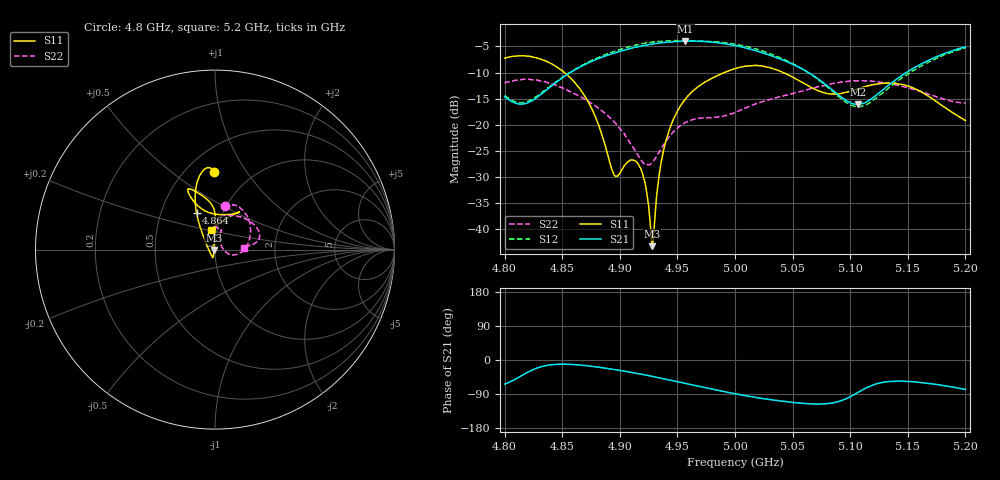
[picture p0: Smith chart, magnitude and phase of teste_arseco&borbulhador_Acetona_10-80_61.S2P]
! Network Analyzer HP8722D
! Hewlett-Packard
! Data name: Linha & Wilkinson
! Saver's name: Rodrigo Anjos
! Comments: Teste da utilização de aquisição
! continua pelo VNA HP8722D
! Time and date: 25/4/2025 15:46
!  Frequency  S11  S21  S12  S22
# HZ  S  MA R 50
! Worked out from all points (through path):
!   401 points, 4.8 GHz to 5.2 GHz, reference 50 ohm
!   highest |S21| = -3.96 dB at 4.957 GHz (marker M1); lowest = -16.1 dB at 5.107 GHz (marker M2)
!   lowest |S11| = -43.3 dB at 4.928 GHz (marker M3), VSWR 1.01, Z = 49.3 - j0.14 ohm
!   |S11| at or under -10 dB: 4.852 GHz to 4.991 GHz (138.8 MHz wide, 2.82 % of centre); 5.042 GHz to end of sweep
!   |S22| runs from -27.7 to -11.3 dB; largest |S21 - S12| = 1.2
!   S11 on the Smith chart (normalised r, x): 4.8 GHz: 0.68, +0.73; 4.864 GHz: 0.75, +0.33; 5.2 GHz: 0.94, +0.21
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4.8e9  0.434 90.5  0.1859 -63.7  0.1909 69.7  0.25 77.4
4.82e9  0.453 96.8  0.162 -32.2  0.1676 98.5  0.2717 61.9
4.843e9  0.3712 106.2  0.2463 -11.8  0.2498 118.8  0.2433 36.7
4.864e9  0.2307 116.5  0.3502 -12.8  0.3537 120.9  0.1892 11.9
4.867e9  0.2077 118.2  0.3644 -14.0  0.3687 120.6  0.1821 8.5
4.88e9  0.1104 128.6  0.4237 -18.4  0.4341 118.2  0.1482 -5.5
4.895e9  0.03279 -171.9  0.4848 -25.0  0.5037 113.7  0.1065 -15.9
4.909e9  0.04589 -106.9  0.5372 -32.0  0.5624 107.4  0.06662 -14.8
4.917e9  0.03983 -102.3  0.5632 -36.6  0.5898 103.5  0.04844 -1.3
4.922e9  0.02746 -105.7  0.5773 -39.4  0.6035 100.6  0.04186 15.5
4.928e9  0.006853 -168.0  0.5928 -43.0  0.6191 96.9  0.04338 41.3
4.93e9  0.011 125.4  0.5974 -44.2  0.6219 95.7  0.04614 48.4
4.934e9  0.03201 99.8  0.6057 -46.9  0.6299 93.2  0.05469 58.7
4.943e9  0.08936 90.6  0.6204 -52.6  0.638 87.4  0.07675 69.1
4.957e9  0.177 89.1  0.6335 -61.6  0.6407 78.4  0.1053 71.4
5e9  0.3446 109.0  0.5746 -89.1  0.5917 50.7  0.1308 88.4
5.03e9  0.3526 115.0  0.4624 -104.3  0.4816 33.6  0.1736 85.5
5.067e9  0.2249 105.0  0.3011 -115.8  0.298 23.5  0.2226 57.1
5.107e9  0.2221 63.6  0.1563 -85.0  0.1483 58.1  0.2635 24.1
5.134e9  0.2501 56.9  0.242 -56.7  0.2277 88.7  0.2477 12.3
5.168e9  0.1873 68.9  0.4146 -61.9  0.3981 85.1  0.1957 7.0
5.2e9  0.1098 100.3  0.5557 -77.7  0.5465 70.1  0.1611 3.8
